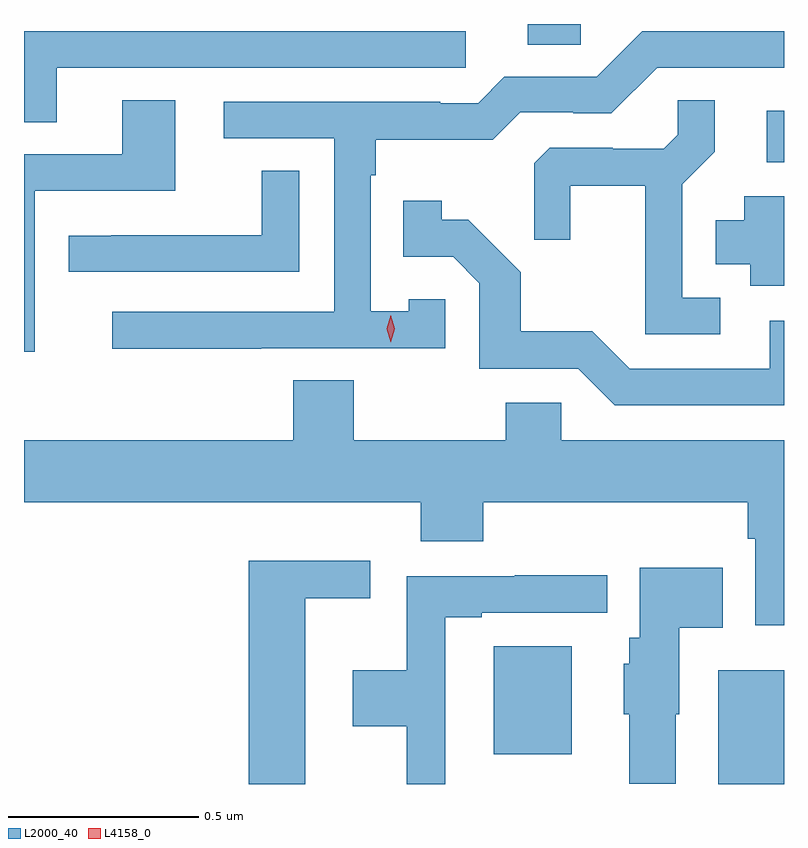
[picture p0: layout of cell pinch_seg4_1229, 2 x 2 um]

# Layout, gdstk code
import gdstk
lib = gdstk.Library(unit=1e-6, precision=1e-09)
def R(c, l, rs):  # rectangles x0, y0, x1, y1
    for r in rs: c.add(gdstk.rectangle(r[:2], r[2:], *l))
def P(c, l, *ps):  # polygons
    for p in ps: c.add(gdstk.Polygon(p, *l))
L2000_40 = (2000, 40)
L4158_0 = (4158, 0)

pinch_seg4_1229 = lib.new_cell('pinch_seg4_1229')
R(pinch_seg4_1229, L2000_40, [(336.416,802.739,336.589,803.038), (335.825,802.817,336.031,803.101), (336.543,804.375,336.589,804.511), (335.915,804.685,336.054,804.739)])
P(pinch_seg4_1229, L2000_40, [(335.213,803.886),(335.697,803.886),(335.697,804.015),(335.601,804.015),(335.601,803.983),(335.502,803.983),(335.502,804.341),(335.515,804.341),(335.515,804.434),(335.822,804.434),(335.895,804.507),(336.034,804.507),(336.034,804.504),(336.135,804.504),(336.255,804.624),(336.589,804.624),(336.589,804.72),(336.216,804.72),(336.096,804.6),(335.853,804.6),(335.784,804.531),(335.684,804.531),(335.684,804.534),(335.115,804.534),(335.115,804.438),(335.406,804.438),(335.406,803.982),(334.821,803.982),(334.821,803.884),(335.213,803.884)],
  [(334.675,804.624),(335.752,804.624),(335.752,804.72),(334.589,804.72),(334.589,804.481),(334.675,804.481)],
  [(334.617,804.3),(334.987,804.3),(334.987,804.539),(334.847,804.539),(334.847,804.396),(334.589,804.396),(334.589,803.877),(334.617,803.877)],
  [(336.421,804.018),(336.321,804.018),(336.321,804.317),(336.407,804.403),(336.407,804.539),(336.309,804.539),(336.309,804.448),(336.272,804.411),(336.138,804.411),(336.138,804.414),(335.973,804.414),(335.932,804.373),(335.932,804.171),(336.026,804.171),(336.026,804.314),(336.224,804.314),(336.224,803.922),(336.421,803.922)],
  [(335.313,804.353),(335.215,804.353),(335.215,804.183),(334.819,804.183),(334.819,804.182),(334.707,804.182),(334.707,804.087),(335.313,804.087)],
  [(336.589,804.286),(336.485,804.286),(336.485,804.223),(336.41,804.223),(336.41,804.107),(336.5,804.107),(336.5,804.05),(336.589,804.05)],
  [(336.589,803.958),(336.551,803.958),(336.551,803.832),(336.183,803.832),(336.085,803.931),(335.896,803.931),(335.896,804.086),(335.758,804.224),(335.688,804.224),(335.688,804.274),(335.587,804.274),(335.587,804.126),(335.718,804.126),(335.787,804.057),(335.787,803.832),(336.048,803.832),(336.144,803.736),(336.589,803.736)],
  [(336.589,803.644),(336.003,803.644),(336.003,803.742),(335.857,803.742),(335.857,803.644),(335.457,803.644),(335.457,803.801),(335.297,803.801),(335.297,803.644),(334.589,803.644),(334.589,803.48),(335.633,803.48),(335.633,803.378),(335.798,803.378),(335.798,803.48),(336.493,803.48),(336.493,803.384),(336.513,803.384),(336.513,803.157),(336.589,803.157)],
  [(335.329,803.228),(335.5,803.228),(335.5,803.326),(335.18,803.326),(335.18,802.739),(335.329,802.739)],
  [(336.304,802.923),(336.313,802.923),(336.313,803.15),(336.428,803.15),(336.428,803.308),(336.209,803.308),(336.209,803.124),(336.182,803.124),(336.182,803.055),(336.167,803.055),(336.167,802.923),(336.182,802.923),(336.182,802.74),(336.304,802.74)],
  [(335.697,803.178),(335.794,803.178),(335.794,803.19),(336.124,803.19),(336.124,803.288),(335.881,803.288),(335.881,803.286),(335.596,803.286),(335.596,803.038),(335.454,803.038),(335.454,802.891),(335.596,802.891),(335.596,802.739),(335.697,802.739)])
P(pinch_seg4_1229, L4158_0, [(335.554,803.901),(335.554,803.902),(335.544,803.937),(335.554,803.973),(335.554,803.973),(335.554,803.973),(335.564,803.937),(335.554,803.902)])

lib.write_gds('pinch_seg4_1229.gds')
